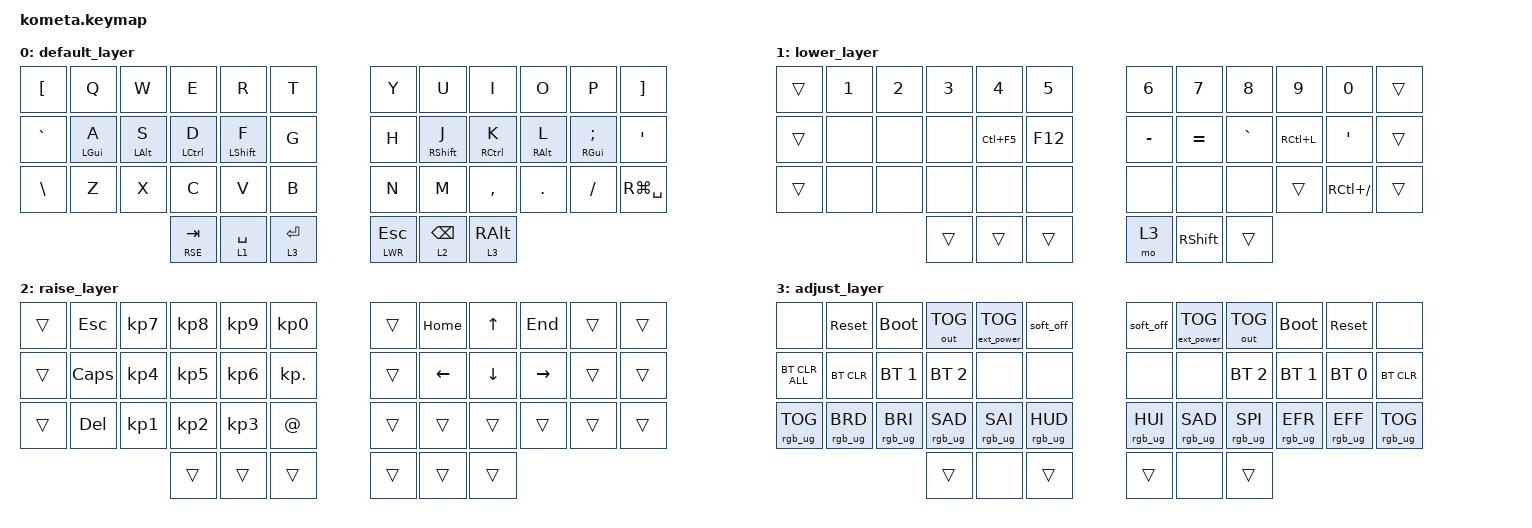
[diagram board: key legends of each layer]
#include <behaviors.dtsi>
#include <dt-bindings/zmk/bt.h>
#include <dt-bindings/zmk/ext_power.h>
#include <dt-bindings/zmk/keys.h>
#include <dt-bindings/zmk/outputs.h>
#include <dt-bindings/zmk/rgb.h>

#define DEF 0
#define LWR 1
#define RSE 2
#define ADJ 3

/ {
};

/ {
    combos {
        compatible = "zmk,combos";

        combo1 {
            bindings = <&kp LBKT>;
            key-positions = <3 4>;
        };

        combo2 {
            bindings = <&kp RBKT>;
            key-positions = <7 8>;
        };

        combo3 {
            bindings = <&kp LEFT_PARENTHESIS>;
            key-positions = <15 16>;
        };

        combo4 {
            bindings = <&kp RIGHT_PARENTHESIS>;
            key-positions = <19 20>;
        };

        combo5 {
            bindings = <&kp LEFT_BRACE>;
            key-positions = <27 28>;
        };

        combo6 {
            bindings = <&kp RIGHT_BRACE>;
            key-positions = <31 32>;
        };

        combo7 {
            bindings = <&kp BACKSLASH>;
            key-positions = <5 6>;
        };

        combo8 {
            bindings = <&kp PIPE>;
            key-positions = <17 18>;
        };

        combo9 {
            bindings = <&kp ENTER>;
            key-positions = <21 22>;
        };
    };

    behaviors {
        hr: hr {
            compatible = "zmk,behavior-hold-tap";
            label = "home_row";
            bindings = <&kp>, <&kp>;

            #binding-cells = <2>;
            tapping-term-ms = <180>;
            quick-tap-ms = <250>;
            flavor = "tap-preferred";
        };

        ltq: ltq {
            compatible = "zmk,behavior-hold-tap";
            label = "LTQ";
            bindings = <&mo>, <&kp>;

            #binding-cells = <2>;
            tapping-term-ms = <200>;
            quick-tap-ms = <180>;
        };
    };

    keymap {
        compatible = "zmk,keymap";

        default_layer {
            bindings = <
&kp LEFT_BRACKET  &kp Q           &kp W       &kp E        &kp R             &kp T      &kp Y        &kp U         &kp I            &kp O            &kp P                    &kp RIGHT_BRACKET
&kp GRAVE         &hr LEFT_GUI A  &hr LALT S  &hr LCTRL D  &hr LEFT_SHIFT F  &kp G      &kp H        &hr RSHIFT J  &hr RCTRL K      &hr RIGHT_ALT L  &hr RIGHT_GUI SEMICOLON  &kp SQT
&kp BSLH          &kp Z           &kp X       &kp C        &kp V             &kp B      &kp N        &kp M         &kp COMMA        &kp DOT          &kp FSLH                 &kp RG(SPACE)
                                              &lt RSE TAB  &lt 1 SPACE       &lt 3 RET  &lt LWR ESC  &ltq 2 BSPC   &lt 3 RIGHT_ALT
            >;
        };

        lower_layer {
            bindings = <
&trans  &kp NUMBER_1  &kp NUMBER_2  &kp NUMBER_3  &kp NUMBER_4  &kp NUMBER_5  &kp NUMBER_6  &kp NUMBER_7  &kp NUMBER_8  &kp NUMBER_9  &kp NUMBER_0   &trans
&trans  &none         &none         &none         &kp LC(F5)    &kp F12       &kp MINUS     &kp EQUAL     &kp GRAVE     &kp RC(L)     &kp SQT        &trans
&trans  &none         &none         &none         &none         &none         &none         &none         &none         &trans        &kp RC(SLASH)  &trans
                                    &trans        &trans        &trans        &mo 3         &kp RSHIFT    &trans
            >;
        };

        raise_layer {
            bindings = <
&trans  &kp ESC   &kp KP_NUMBER_7  &kp KP_NUMBER_8  &kp KP_NUMBER_9  &kp KP_NUMBER_0  &trans  &kp HOME  &kp UP    &kp END    &trans  &trans
&trans  &kp CAPS  &kp KP_NUMBER_4  &kp KP_NUMBER_5  &kp KP_NUMBER_6  &kp KP_DOT       &trans  &kp LEFT  &kp DOWN  &kp RIGHT  &trans  &trans
&trans  &kp DEL   &kp KP_NUMBER_1  &kp KP_NUMBER_2  &kp KP_NUMBER_3  &kp AT_SIGN      &trans  &trans    &trans    &trans     &trans  &trans
                                   &trans           &trans           &trans           &trans  &trans    &trans
            >;
        };

        adjust_layer {
            bindings = <
&none            &sys_reset       &bootloader      &out OUT_TOG     &ext_power EP_TOG  &soft_off        &soft_off        &ext_power EP_TOG  &out OUT_TOG     &bootloader      &sys_reset       &none
&bt BT_CLR_ALL   &bt BT_CLR       &bt BT_SEL 1     &bt BT_SEL 2     &none              &none            &none            &none              &bt BT_SEL 2     &bt BT_SEL 1     &bt BT_SEL 0     &bt BT_CLR
&rgb_ug RGB_TOG  &rgb_ug RGB_BRD  &rgb_ug RGB_BRI  &rgb_ug RGB_SAD  &rgb_ug RGB_SAI    &rgb_ug RGB_HUD  &rgb_ug RGB_HUI  &rgb_ug RGB_SAD    &rgb_ug RGB_SPI  &rgb_ug RGB_EFR  &rgb_ug RGB_EFF  &rgb_ug RGB_TOG
                                                   &trans           &none              &trans           &trans           &none              &trans
            >;
        };
    };
};
